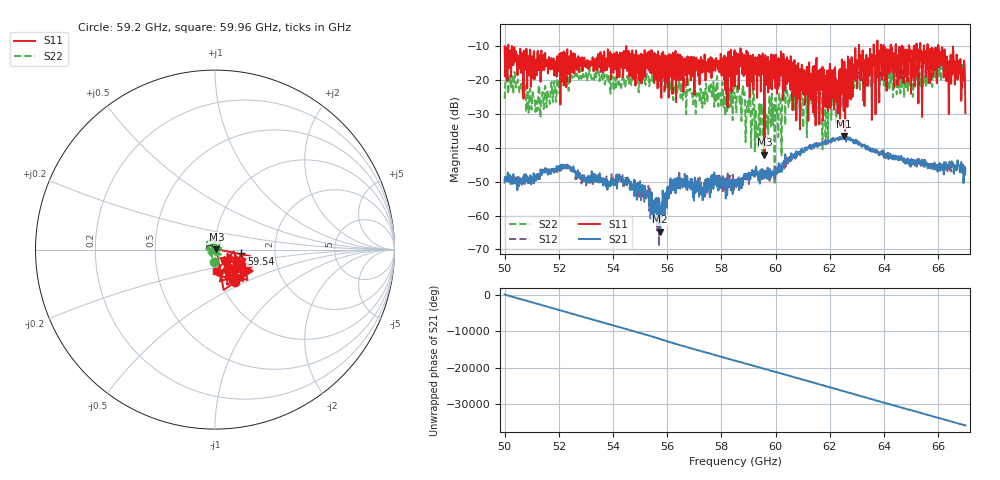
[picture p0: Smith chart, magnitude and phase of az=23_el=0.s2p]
!Created with skrf (http://scikit-rf.org).
# GHz S RI R 50.0
!freq ReS11 ImS11 ReS21 ImS21 ReS12 ImS12 ReS22 ImS22
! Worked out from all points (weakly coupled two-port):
!   1001 points, 50 GHz to 67 GHz, reference 50 ohm
!   highest |S21| = -36.44 dB at 62.51 GHz (marker M1); lowest = -64.8 dB at 55.73 GHz (marker M2)
!   lowest |S11| = -42.0 dB at 59.59 GHz (marker M3), VSWR 1.02, Z = 50.8 + j0.192 ohm
!   |S11| at or under -10 dB: 50.27 GHz to 54.49 GHz (4.215 GHz wide, 8.05 % of centre); 54.49 GHz to 63.07 GHz (8.583 GHz wide, 14.6 % of centre); 66.01 GHz to end of sweep (the widest 3 of 19)
!   |S22| runs from -50.9 to -14.0 dB; largest |S21 - S12| = 0.0021
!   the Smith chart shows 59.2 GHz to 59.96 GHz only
!   S11 on the Smith chart (normalised r, x): 59.2 GHz: 1.16, -0.44; 59.54 GHz: 1.34, -0.06; 59.96 GHz: 0.98, -0.24
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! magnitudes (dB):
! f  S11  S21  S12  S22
! 50 GHz  -10.0  -49.6  -50.5  -25.5
! 50.42 GHz  -14.3  -50.0  -48.6  -22.2
! 51.16 GHz  -13.9  -49.7  -49.6  -27.2
! 52.84 GHz  -14.2  -48.7  -50.5  -19.6
! 54.27 GHz  -11.8  -49.1  -48.6  -21.5
! 55.68 GHz  -13.7  -59.9  -54.7  -22.1
! 55.73 GHz  -19.5  -64.8  -64.2  -18.0
! 56.36 GHz  -15.1  -51.0  -49.5  -24.1
! 58.5 GHz  -21.9  -49.9  -49.0  -25.3
! 59.2 GHz  -13.4  -48.5  -48.2  -23.4
! 59.54 GHz  -16.5  -46.6  -46.6  -40.6
! 59.59 GHz  -42.0  -49.0  -48.0  -28.5
! 59.96 GHz  -18.4  -47.5  -49.7  -50.9
! 60.64 GHz  -14.7  -43.0  -42.4  -23.1
! 61.34 GHz  -24.4  -39.6  -39.4  -26.1
! 61.78 GHz  -16.9  -38.3  -38.4  -20.9
! 62.51 GHz  -29.1  -36.4  -37.0  -21.0
! 63.01 GHz  -22.4  -38.5  -37.9  -19.3
! 64.18 GHz  -18.1  -43.0  -42.6  -19.1
! 66.08 GHz  -15.1  -45.7  -45.9  -15.8
! 66.75 GHz  -18.2  -45.4  -45.6  -18.4
! 67 GHz  -29.7  -46.3  -46.1  -15.6
